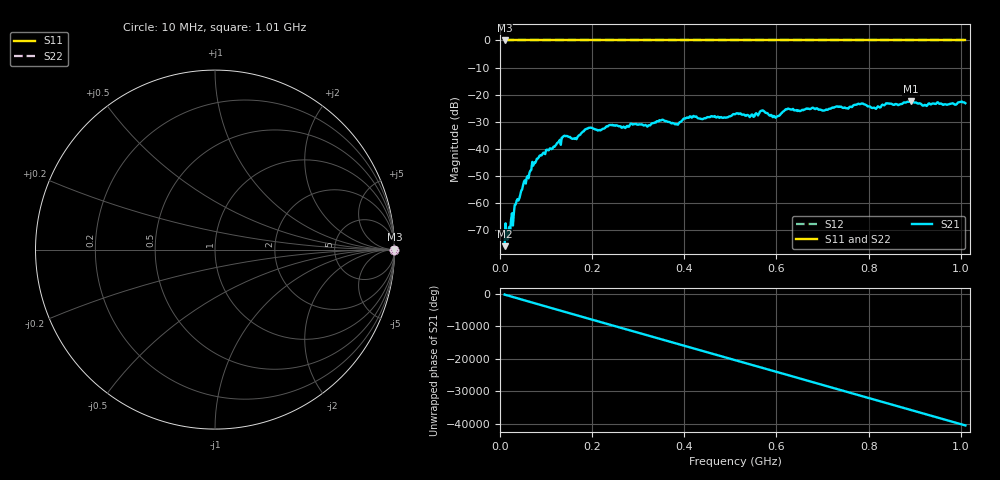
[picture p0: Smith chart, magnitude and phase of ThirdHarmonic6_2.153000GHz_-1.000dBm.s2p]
! 8/17/2025 1:42:33 AM
! C:\ANRITSUVNA\TEMP\TEMP.S2P
! CHANNEL.1
! TR.MEASUREMENT
! RAW.DATA
! RF.CORRECTION.OFF
! AVERAGING.OFF
! IF.BANDWIDTH: 5KHZ
! SWEEPTYPE:  FREQ.SWEEP(Linear)
! Reference Plane Port Info
! PORT:  PORT1  PORT2
! DISTANCE:  0  m  0  m
! TIME:  0  s  0  s
! PHASE.OFFSET:  0  deg.  0  deg.
! LOSS:  0  dB  0  dB
! REF.LOSS:  0  dB  0  dB
! REF.FREQ:  0  Hz  0  Hz
! Power Info
! POWER:  -20  dBm  -20  dBm
! EFF.POWER:  -20  dBm  -20  dBm
! SOURCE.ATTEN:  0  dB  0  dB
! TEST.ATTEN:  0  dB  0  dB
# GHZ S RI R 50.0
! FREQ.GHZ  S11RE  S11IM  S21RE  S21IM  S12RE  S12IM  S22RE  S22IM
!; PortSelection: Port_12
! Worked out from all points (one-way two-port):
!   501 points, 10 MHz to 1.01 GHz, reference 50 ohm
!   highest |S21| = -22.43 dB at 892 MHz (marker M1); lowest = -75.9 dB at 10 MHz (marker M2)
!   lowest |S11| = 0.0 dB at 10 MHz (marker M3)
!   |S11| at or under -10 dB: nowhere
!   |S22| runs from 0.0 to 0.0 dB; largest |S21 - S12| = 1.1
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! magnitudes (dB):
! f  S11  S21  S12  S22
! 10 MHz  0.0  -75.9  0.0  0.0
! 20 MHz  0.0  -68.8  0.0  0.0
! 36 MHz  0.0  -59.2  0.0  0.0
! 74 MHz  0.0  -45.1  0.0  0.0
! 138 MHz  0.0  -35.3  0.0  0.0
! 162 MHz  0.0  -36.3  0.0  0.0
! 178 MHz  0.0  -33.9  0.0  0.0
! 196 MHz  0.0  -32.2  0.0  0.0
! 344 MHz  0.0  -29.9  0.0  0.0
! 384 MHz  0.0  -31.0  0.0  0.0
! 416 MHz  0.0  -28.5  0.0  0.0
! 510 MHz  0.0  -27.2  0.0  0.0
! 546 MHz  0.0  -27.3  0.0  0.0
! 570 MHz  0.0  -25.8  0.0  0.0
! 596 MHz  0.0  -28.0  0.0  0.0
! 624 MHz  0.0  -25.2  0.0  0.0
! 678 MHz  0.0  -24.8  0.0  0.0
! 784 MHz  0.0  -23.4  0.0  0.0
! 812 MHz  0.0  -24.8  0.0  0.0
! 844 MHz  0.0  -23.2  0.0  0.0
! 892 MHz  0.0  -22.4  0.0  0.0
! 1.01 GHz  0.0  -23.2  0.0  0.0
